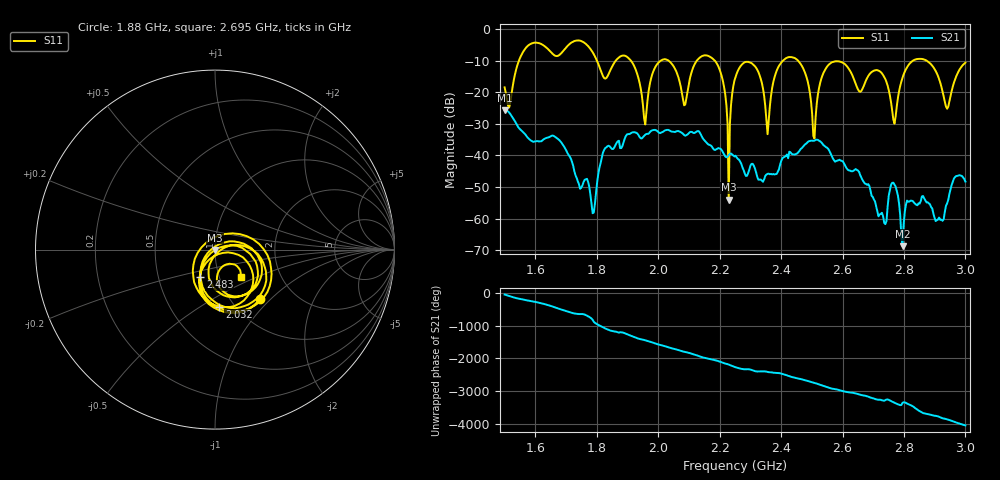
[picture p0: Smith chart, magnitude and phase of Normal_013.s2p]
# HZ S RI R 50
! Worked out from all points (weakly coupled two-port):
!   404 points, 1.5 GHz to 3 GHz, reference 50 ohm
!   highest |S21| = -25.72 dB at 1.5 GHz (marker M1); lowest = -68.7 dB at 2.795 GHz (marker M2)
!   lowest |S11| = -53.9 dB at 2.23 GHz (marker M3), VSWR 1.00, Z = 50 - j0.201 ohm
!   |S11| at or under -10 dB: 2.184 GHz to 2.407 GHz (222.7 MHz wide, 9.7 % of centre); 2.455 GHz to 2.83 GHz (374.7 MHz wide, 14.2 % of centre); 2.873 GHz to end of sweep (the widest 3 of 7)
!   S12 and S22 are empty: the file has one direction only
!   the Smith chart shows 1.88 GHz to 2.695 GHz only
!   S11 on the Smith chart (normalised r, x): 1.88 GHz: 1.35, -0.87; 2.032 GHz: 0.85, -0.60; 2.483 GHz: 0.81, -0.26; 2.695 GHz: 1.26, -0.40
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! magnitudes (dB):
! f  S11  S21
! 1.5 GHz  -18.5  -25.7
! 1.753 GHz  -4.0  -49.5
! 1.88 GHz  -8.6  -37.7
! 1.958 GHz  -30.2  -33.4
! 2.002 GHz  -10.5  -32.8
! 2.032 GHz  -9.9  -31.9
! 2.084 GHz  -24.1  -33.5
! 2.185 GHz  -10.1  -38.3
! 2.23 GHz  -53.9  -39.9
! 2.252 GHz  -15.2  -40.1
! 2.315 GHz  -11.8  -44.2
! 2.356 GHz  -33.3  -45.8
! 2.404 GHz  -10.2  -40.9
! 2.483 GHz  -15.2  -36.2
! 2.501 GHz  -27.0  -35.3
! 2.561 GHz  -10.8  -39.3
! 2.695 GHz  -13.6  -52.8
! 2.751 GHz  -19.4  -52.6
! 2.795 GHz  -15.4  -68.7
! 2.873 GHz  -10.0  -54.8
! 2.94 GHz  -25.2  -55.2
! 3 GHz  -10.7  -48.2
